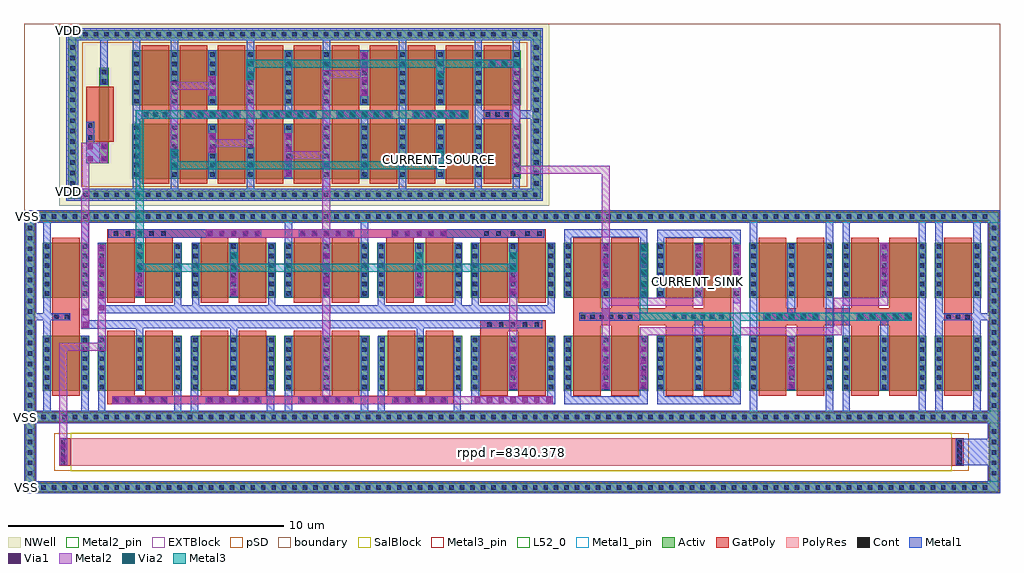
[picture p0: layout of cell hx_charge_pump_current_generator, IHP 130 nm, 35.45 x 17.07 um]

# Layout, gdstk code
import gdstk
lib = gdstk.Library(unit=1e-6, precision=1e-09)
def R(c, l, rs):  # rectangles x0, y0, x1, y1
    for r in rs: c.add(gdstk.rectangle(r[:2], r[2:], *l))
def A(c, l, x, y, w, h, nx, ny, dx, dy):  # array of equal rectangles
    R(c, l, [(x+i*dx, y+j*dy, x+i*dx+w, y+j*dy+h) for i in range(nx) for j in range(ny)])
def P(c, l, *ps):  # polygons
    for p in ps: c.add(gdstk.Polygon(p, *l))
Activ = (1, 0)
GatPoly = (5, 0)
Cont = (6, 0)
Metal1 = (8, 0)
Metal1_pin = (8, 2)
Metal2 = (10, 0)
Metal2_pin = (10, 2)
pSD = (14, 0)
Via1 = (19, 0)
SalBlock = (28, 0)
Via2 = (29, 0)
Metal3 = (30, 0)
Metal3_pin = (30, 2)
NWell = (31, 0)
L52_0 = (52, 0)
EXTBlock = (111, 0)
PolyRes = (128, 0)
boundary = (189, 4)

hx_charge_pump_current_g = lib.new_cell('hx_charge_pump_current_generator')
A(hx_charge_pump_current_g, Activ, 12.865, 3.725, 3.06, 2, 6, 1, 3.37, 0)
A(hx_charge_pump_current_g, Activ, 16.235, 7.115, 3.06, 2, 5, 1, 3.37, 0)
R(hx_charge_pump_current_g, Activ, [(0.685,3.725,2.365,5.725), (2.675,3.725,5.735,5.725), (6.085,3.725,9.145,5.725), (9.455,3.725,12.555,5.725), (33.085,3.725,34.765,5.725), (0.685,7.115,2.365,9.115), (2.675,7.115,5.735,9.115), (6.085,7.115,9.145,9.115), (9.455,7.115,12.515,9.115), (12.825,7.115,15.925,9.115), (33.085,7.115,34.765,9.115), (3.935,11.435,18.035,13.435), (2.725,11.995,3.085,15.46), (3.935,14.095,18.035,16.095)])
P(hx_charge_pump_current_g, Activ, [(1.605,10.7),(1.605,16.53),(1.905,16.53),(1.905,11),(18.47,11),(18.47,16.53),(1.605,16.53),(1.605,16.83),(18.77,16.83),(18.77,10.7)],
  [(0.065,0.07),(0.065,2.63),(0.365,2.63),(0.365,0.37),(35.08,0.37),(35.08,2.63),(0.07,2.63),(0.07,9.91),(0.37,9.91),(0.37,2.93),(35.08,2.93),(35.08,9.91),(0.07,9.91),(0.07,10.21),(35.38,10.21),(35.38,0.07)])
A(hx_charge_pump_current_g, GatPoly, 5.655, 11.255, 1, 2.36, 4, 1, 1.38, 0)
A(hx_charge_pump_current_g, GatPoly, 9.795, 11.255, 1, 2.36, 5, 1, 1.38, 0)
A(hx_charge_pump_current_g, GatPoly, 5.655, 13.915, 1, 2.36, 8, 1, 1.38, 0)
R(hx_charge_pump_current_g, GatPoly, [(1.275,1,1.505,2), (1.505,1,1.705,2), (33.705,1,33.905,2), (33.905,1,34.135,2), (1.025,3.545,2.025,9.295), (33.425,3.545,34.425,9.295), (4.275,11.255,5.275,16.275), (16.695,11.255,17.695,16.275), (2.255,12.78,3.265,14.78), (5.655,13.615,16.315,13.915)])
P(hx_charge_pump_current_g, GatPoly, [(19.945,3.545),(19.945,5.905),(19.95,5.905),(19.95,6.935),(19.945,6.935),(19.945,9.295),(20.945,9.295),(20.945,6.735),(21.325,6.735),(21.325,9.295),(22.325,9.295),(22.325,6.735),(23.315,6.735),(23.315,9.295),(24.315,9.295),(24.315,6.735),(24.695,6.735),(24.695,9.295),(25.695,9.295),(25.695,3.545),(24.695,3.545),(24.695,6.105),(24.315,6.105),(24.315,3.545),(23.315,3.545),(23.315,6.105),(22.325,6.105),(22.325,3.545),(21.325,3.545),(21.325,6.105),(20.945,6.105),(20.945,3.545)],
  [(26.685,3.545),(26.685,5.905),(26.69,5.905),(26.69,6.935),(26.685,6.935),(26.685,9.295),(27.685,9.295),(27.685,6.735),(28.065,6.735),(28.065,9.295),(29.065,9.295),(29.065,6.735),(30.055,6.735),(30.055,9.295),(31.055,9.295),(31.055,6.735),(31.435,6.735),(31.435,9.295),(32.435,9.295),(32.435,3.545),(31.435,3.545),(31.435,6.105),(31.055,6.105),(31.055,3.545),(30.055,3.545),(30.055,6.105),(29.065,6.105),(29.065,3.545),(28.065,3.545),(28.065,6.105),(27.685,6.105),(27.685,3.545)],
  [(3.015,6.935),(3.015,9.595),(18.955,9.595),(18.955,6.935),(17.955,6.935),(17.955,9.295),(17.575,9.295),(17.575,6.935),(16.575,6.935),(16.575,9.295),(15.585,9.295),(15.585,6.935),(14.585,6.935),(14.585,9.295),(14.165,9.295),(14.165,6.935),(13.165,6.935),(13.165,9.295),(12.175,9.295),(12.175,6.935),(11.175,6.935),(11.175,9.295),(10.795,9.295),(10.795,6.935),(9.795,6.935),(9.795,9.295),(8.805,9.295),(8.805,6.935),(7.805,6.935),(7.805,9.295),(7.425,9.295),(7.425,6.935),(6.425,6.935),(6.425,9.295),(5.395,9.295),(5.395,6.935),(4.395,6.935),(4.395,9.295),(4.015,9.295),(4.015,6.935)],
  [(3.015,3.245),(3.015,5.905),(4.015,5.905),(4.015,3.545),(4.395,3.545),(4.395,5.905),(5.395,5.905),(5.395,3.545),(6.425,3.545),(6.425,5.905),(7.425,5.905),(7.425,3.545),(7.805,3.545),(7.805,5.905),(8.805,5.905),(8.805,3.545),(9.795,3.545),(9.795,5.905),(10.795,5.905),(10.795,3.545),(11.175,3.545),(11.175,5.905),(12.175,5.905),(12.175,3.545),(13.205,3.545),(13.205,5.905),(14.205,5.905),(14.205,3.545),(14.585,3.545),(14.585,5.905),(15.585,5.905),(15.585,3.245)],
  [(16.575,3.545),(16.575,6.295),(18.955,6.295),(18.955,3.545),(17.955,3.545),(17.955,5.9),(17.575,5.9),(17.575,3.545)])
A(hx_charge_pump_current_g, Cont, 0.25, 0.14, 0.16, 0.16, 92, 2, 0.38, 2.56)
A(hx_charge_pump_current_g, Cont, 0.135, 0.655, 0.16, 0.16, 1, 5, 0, 0.38)
A(hx_charge_pump_current_g, Cont, 35.15, 0.655, 0.16, 0.16, 1, 5, 0, 0.38)
A(hx_charge_pump_current_g, Cont, 0.14, 3.11, 0.16, 0.16, 1, 18, 0, 0.38)
A(hx_charge_pump_current_g, Cont, 35.15, 3.11, 0.16, 0.16, 1, 18, 0, 0.38)
A(hx_charge_pump_current_g, Cont, 3.265, 3.315, 0.16, 0.16, 5, 2, 0.43, 6.05)
A(hx_charge_pump_current_g, Cont, 6.675, 3.315, 0.16, 0.16, 5, 2, 0.43, 6.05)
A(hx_charge_pump_current_g, Cont, 10.03, 3.315, 0.16, 0.16, 5, 1, 0.43, 0)
A(hx_charge_pump_current_g, Cont, 13.44, 3.315, 0.16, 0.16, 5, 1, 0.43, 0)
A(hx_charge_pump_current_g, Cont, 0.755, 3.795, 0.16, 0.16, 1, 6, 0, 0.34)
A(hx_charge_pump_current_g, Cont, 2.745, 3.795, 0.16, 0.16, 3, 6, 1.38, 0.34)
A(hx_charge_pump_current_g, Cont, 6.155, 3.795, 0.16, 0.16, 3, 6, 1.38, 0.34)
A(hx_charge_pump_current_g, Cont, 9.525, 3.795, 0.16, 0.16, 3, 6, 1.38, 0.34)
A(hx_charge_pump_current_g, Cont, 12.935, 3.795, 0.16, 0.16, 3, 6, 1.38, 0.34)
A(hx_charge_pump_current_g, Cont, 16.305, 3.795, 0.16, 0.16, 3, 6, 1.38, 0.34)
A(hx_charge_pump_current_g, Cont, 19.675, 3.795, 0.16, 0.16, 3, 6, 1.38, 0.34)
A(hx_charge_pump_current_g, Cont, 23.045, 3.795, 0.16, 0.16, 3, 6, 1.38, 0.34)
A(hx_charge_pump_current_g, Cont, 26.415, 3.795, 0.16, 0.16, 3, 6, 1.38, 0.34)
A(hx_charge_pump_current_g, Cont, 29.785, 3.795, 0.16, 0.16, 3, 6, 1.38, 0.34)
A(hx_charge_pump_current_g, Cont, 33.155, 3.795, 0.16, 0.16, 1, 6, 0, 0.34)
A(hx_charge_pump_current_g, Cont, 16.825, 6.065, 0.16, 0.16, 5, 1, 0.43, 0)
A(hx_charge_pump_current_g, Cont, 20.225, 6.34, 0.16, 0.16, 6, 1, 0.34, 0)
A(hx_charge_pump_current_g, Cont, 24.235, 6.34, 0.16, 0.16, 3, 1, 0.34, 0)
A(hx_charge_pump_current_g, Cont, 26.935, 6.34, 0.16, 0.16, 5, 1, 0.43, 0)
A(hx_charge_pump_current_g, Cont, 30.305, 6.34, 0.16, 0.16, 5, 1, 0.43, 0)
A(hx_charge_pump_current_g, Cont, 0.755, 7.185, 0.16, 0.16, 1, 6, 0, 0.34)
A(hx_charge_pump_current_g, Cont, 2.745, 7.185, 0.16, 0.16, 1, 6, 0, 0.34)
A(hx_charge_pump_current_g, Cont, 2.745, 7.185, 0.16, 0.16, 3, 6, 1.38, 0.34)
A(hx_charge_pump_current_g, Cont, 6.155, 7.185, 0.16, 0.16, 3, 6, 1.38, 0.34)
A(hx_charge_pump_current_g, Cont, 9.525, 7.185, 0.16, 0.16, 3, 6, 1.38, 0.34)
A(hx_charge_pump_current_g, Cont, 12.895, 7.185, 0.16, 0.16, 1, 6, 0, 0.34)
A(hx_charge_pump_current_g, Cont, 14.275, 7.185, 0.16, 0.16, 1, 6, 0, 0.34)
A(hx_charge_pump_current_g, Cont, 15.695, 7.185, 0.16, 0.16, 1, 6, 0, 0.34)
A(hx_charge_pump_current_g, Cont, 16.305, 7.185, 0.16, 0.16, 3, 6, 1.38, 0.34)
A(hx_charge_pump_current_g, Cont, 19.675, 7.185, 0.16, 0.16, 1, 6, 0, 0.34)
A(hx_charge_pump_current_g, Cont, 19.675, 7.185, 0.16, 0.16, 3, 6, 1.38, 0.34)
A(hx_charge_pump_current_g, Cont, 23.045, 7.185, 0.16, 0.16, 3, 6, 1.38, 0.34)
A(hx_charge_pump_current_g, Cont, 25.805, 7.185, 0.16, 0.16, 1, 6, 0, 0.34)
A(hx_charge_pump_current_g, Cont, 26.415, 7.185, 0.16, 0.16, 1, 6, 0, 0.34)
A(hx_charge_pump_current_g, Cont, 26.415, 7.185, 0.16, 0.16, 3, 6, 1.38, 0.34)
A(hx_charge_pump_current_g, Cont, 29.785, 7.185, 0.16, 0.16, 3, 6, 1.38, 0.34)
A(hx_charge_pump_current_g, Cont, 32.545, 7.185, 0.16, 0.16, 1, 6, 0, 0.34)
A(hx_charge_pump_current_g, Cont, 33.155, 7.185, 0.16, 0.16, 1, 6, 0, 0.34)
A(hx_charge_pump_current_g, Cont, 10.045, 9.365, 0.16, 0.16, 5, 1, 0.43, 0)
A(hx_charge_pump_current_g, Cont, 13.415, 9.365, 0.16, 0.16, 5, 1, 0.43, 0)
A(hx_charge_pump_current_g, Cont, 0.25, 9.98, 0.16, 0.16, 92, 1, 0.38, 0)
A(hx_charge_pump_current_g, Cont, 1.77, 10.77, 0.16, 0.16, 45, 2, 0.38, 5.83)
A(hx_charge_pump_current_g, Cont, 1.675, 11.18, 0.16, 0.16, 1, 14, 0, 0.38)
A(hx_charge_pump_current_g, Cont, 18.54, 11.18, 0.16, 0.16, 1, 14, 0, 0.38)
A(hx_charge_pump_current_g, Cont, 4.005, 11.505, 0.16, 0.16, 11, 6, 1.38, 0.34)
A(hx_charge_pump_current_g, Cont, 4.355, 13.685, 0.16, 0.16, 3, 1, 0.34, 0)
A(hx_charge_pump_current_g, Cont, 5.905, 13.685, 0.16, 0.16, 5, 1, 0.43, 0)
A(hx_charge_pump_current_g, Cont, 8.665, 13.685, 0.16, 0.16, 5, 1, 0.43, 0)
A(hx_charge_pump_current_g, Cont, 11.425, 13.685, 0.16, 0.16, 5, 1, 0.43, 0)
A(hx_charge_pump_current_g, Cont, 14.185, 13.685, 0.16, 0.16, 5, 1, 0.43, 0)
A(hx_charge_pump_current_g, Cont, 16.775, 13.685, 0.16, 0.16, 3, 1, 0.34, 0)
A(hx_charge_pump_current_g, Cont, 4.005, 14.165, 0.16, 0.16, 11, 6, 1.38, 0.34)
R(hx_charge_pump_current_g, Cont, [(0.135,0.655,0.295,0.815), (1.345,1.07,1.505,1.93), (33.905,1.07,34.065,1.93), (2.135,3.795,2.295,3.955), (2.135,3.795,2.295,3.955), (34.535,3.795,34.695,3.955), (34.535,3.795,34.695,3.955), (2.135,4.135,2.295,4.295), (2.135,4.135,2.295,4.295), (34.535,4.135,34.695,4.295), (34.535,4.135,34.695,4.295), (2.135,4.475,2.295,4.635), (2.135,4.475,2.295,4.635), (34.535,4.475,34.695,4.635), (34.535,4.475,34.695,4.635), (2.135,4.815,2.295,4.975), (2.135,4.815,2.295,4.975), (34.535,4.815,34.695,4.975), (34.535,4.815,34.695,4.975), (2.135,5.155,2.295,5.315), (2.135,5.155,2.295,5.315), (34.535,5.155,34.695,5.315), (34.535,5.155,34.695,5.315), (2.135,5.495,2.295,5.655), (2.135,5.495,2.295,5.655), (34.535,5.495,34.695,5.655), (34.535,5.495,34.695,5.655), (34.185,6.335,34.345,6.495), (1.095,6.34,1.255,6.5), (1.475,6.34,1.635,6.5), (23.555,6.34,23.715,6.5), (23.895,6.34,24.055,6.5), (23.895,6.34,24.055,6.5), (24.235,6.34,24.395,6.5), (24.915,6.34,25.075,6.5), (25.255,6.34,25.415,6.5), (33.505,6.34,33.665,6.5), (33.845,6.34,34.005,6.5), (2.135,7.185,2.295,7.345), (2.135,7.185,2.295,7.345), (34.535,7.185,34.695,7.345), (34.535,7.185,34.695,7.345), (2.135,7.525,2.295,7.685), (2.135,7.525,2.295,7.685), (34.535,7.525,34.695,7.685), (34.535,7.525,34.695,7.685), (2.135,7.865,2.295,8.025), (2.135,7.865,2.295,8.025), (34.535,7.865,34.695,8.025), (34.535,7.865,34.695,8.025), (2.135,8.205,2.295,8.365), (2.135,8.205,2.295,8.365), (34.535,8.205,34.695,8.365), (34.535,8.205,34.695,8.365), (2.135,8.545,2.295,8.705), (2.135,8.545,2.295,8.705), (34.535,8.545,34.695,8.705), (34.535,8.545,34.695,8.705), (2.135,8.885,2.295,9.045), (2.135,8.885,2.295,9.045), (34.535,8.885,34.695,9.045), (34.535,8.885,34.695,9.045), (18.215,9.36,18.375,9.52), (18.645,9.36,18.805,9.52), (16.725,9.365,16.885,9.525), (17.155,9.365,17.315,9.525), (17.685,9.365,17.845,9.525), (2.825,12.08,2.985,12.24), (2.825,12.51,2.985,12.67), (2.325,12.85,2.485,13.01), (2.325,13.28,2.485,13.44), (2.825,14.89,2.985,15.05), (2.825,15.23,2.985,15.39)])
R(hx_charge_pump_current_g, Metal1, [(1.275,1.02,1.575,1.98), (33.835,1.02,34.135,1.98), (3.2,3.25,5.21,3.54), (6.61,3.25,8.62,3.54), (9.965,3.25,11.975,3.54), (13.375,3.25,15.385,3.54), (17.62,3.745,17.91,5.705), (20.99,3.745,21.28,5.705), (27.73,3.745,28.02,5.705), (7.47,7.125,7.76,9.095), (4.06,7.135,4.35,9.105), (14.21,7.135,14.5,9.095), (17.62,7.135,17.91,9.095), (24.36,7.135,24.65,9.095), (31.1,7.135,31.39,9.11), (3.06,9.295,8.62,9.595), (13.35,9.295,18.89,9.595), (6.7,11.435,6.99,13.415), (9.46,11.435,9.75,13.415), (14.98,11.435,15.27,13.415), (5.84,13.615,7.85,13.915), (14.12,13.615,16.13,13.915), (6.7,14.115,6.99,16.095), (12.22,14.115,12.51,16.095), (14.98,14.115,15.27,16.095)])
P(hx_charge_pump_current_g, Metal1, [(22.995,3.25),(22.995,5.705),(23.255,5.705),(23.255,3.54),(25.74,3.54),(25.74,5.705),(26.03,5.705),(26.03,3.25)],
  [(19.625,3.25),(19.625,5.705),(19.885,5.705),(19.885,3.54),(22.37,3.54),(22.37,5.705),(22.66,5.705),(22.66,3.25)],
  [(25.74,6.905),(25.74,9.295),(23.255,9.295),(23.255,7.135),(22.995,7.135),(22.995,9.585),(26.03,9.585),(26.03,6.905)],
  [(0,0),(0,2.56),(0.44,2.56),(0.44,0.44),(35.01,0.44),(35.01,1.02),(33.835,1.02),(33.835,1.98),(35.01,1.98),(35.01,2.56),(0,2.56),(0,6.29),(0.44,6.29),(0.44,3),(0.705,3),(0.705,6.29),(0,6.29),(0,9.84),(0.44,9.84),(0.44,6.55),(0.705,6.55),(0.705,9.84),(12.495,9.84),(12.495,7.135),(12.235,7.135),(12.235,9.84),(9.735,9.84),(9.735,7.135),(9.475,7.135),(9.475,9.84),(2.345,9.84),(2.345,7.115),(2.085,7.115),(2.085,9.84),(0.965,9.84),(0.965,6.55),(1.685,6.55),(1.685,6.29),(0.965,6.29),(0.965,3),(2.085,3),(2.085,5.725),(2.345,5.725),(2.345,3),(2.695,3),(2.695,5.705),(2.955,5.705),(2.955,3),(5.455,3),(5.455,5.705),(5.715,5.705),(5.715,3),(6.065,3),(6.065,5.715),(6.325,5.715),(6.325,3),(8.825,3),(8.825,5.705),(9.085,5.705),(9.085,3),(9.475,3),(9.475,5.705),(9.735,5.705),(9.735,3),(12.235,3),(12.235,5.705),(12.495,5.705),(12.495,3),(12.845,3),(12.845,5.705),(13.105,5.705),(13.105,3),(15.605,3),(15.605,5.705),(15.865,5.705),(15.865,3),(26.365,3),(26.365,9.84),(26.625,9.84),(26.625,3),(29.125,3),(29.125,9.84),(29.385,9.84),(29.385,3),(29.735,3),(29.735,9.84),(29.995,9.84),(29.995,3),(32.495,3),(32.495,9.84),(32.755,9.84),(32.755,3),(33.105,3),(33.105,6.29),(33.365,6.29),(33.365,3),(34.485,3),(34.485,6.29),(34.745,6.29),(34.745,3),(35.01,3),(35.01,6.29),(33.105,6.29),(33.105,9.84),(33.365,9.84),(33.365,6.54),(34.485,6.54),(34.485,9.84),(34.745,9.84),(34.745,6.54),(35.01,6.54),(35.01,9.84),(0,9.84),(0,10.28),(35.45,10.28),(35.45,0)],
  [(4.075,3.735),(4.075,5.99),(2.085,5.99),(2.085,6.715),(2.375,6.715),(2.375,6.295),(18.82,6.295),(18.82,5.995),(14.525,5.995),(14.525,3.745),(14.265,3.745),(14.265,5.995),(11.115,5.995),(11.115,3.745),(10.855,3.745),(10.855,5.995),(7.745,5.995),(7.745,3.735),(7.485,3.735),(7.485,5.995),(4.335,5.995),(4.335,3.735)],
  [(1.535,10.63),(1.535,16.46),(3.035,16.46),(3.035,14.84),(2.775,14.84),(2.775,16.46),(1.975,16.46),(1.975,11.07),(3.955,11.07),(3.955,13.615),(4.215,13.615),(4.215,11.07),(5.335,11.07),(5.335,13.615),(3.955,13.615),(3.955,16.46),(4.215,16.46),(4.215,13.915),(5.335,13.915),(5.335,16.46),(5.595,16.46),(5.595,11.07),(8.095,11.07),(8.095,16.46),(8.355,16.46),(8.355,11.07),(10.855,11.07),(10.855,16.46),(11.115,16.46),(11.115,11.07),(13.615,11.07),(13.615,16.46),(13.875,16.46),(13.875,11.07),(16.375,11.07),(16.375,13.615),(16.635,13.615),(16.635,11.07),(17.755,11.07),(17.755,13.615),(18.015,13.615),(18.015,11.07),(18.4,11.07),(18.4,13.615),(16.375,13.615),(16.375,16.46),(16.635,16.46),(16.635,13.915),(17.755,13.915),(17.755,16.46),(18.015,16.46),(18.015,13.915),(18.4,13.915),(18.4,16.46),(1.535,16.46),(1.535,16.9),(18.84,16.9),(18.84,10.63)],
  [(24.36,3.745),(24.36,6.275),(20.16,6.275),(20.16,6.565),(20.99,6.565),(20.99,9.095),(21.28,9.095),(21.28,6.565),(25.655,6.565),(25.655,6.275),(24.65,6.275),(24.65,3.745)],
  [(19.625,7.135),(19.625,9.59),(22.645,9.59),(22.645,7.135),(22.385,7.135),(22.385,9.3),(19.885,9.3),(19.885,7.135)],
  [(31.1,3.745),(31.1,6.275),(30.24,6.275),(30.24,6.565),(32.25,6.565),(32.25,6.275),(31.39,6.275),(31.39,3.745)],
  [(26.85,6.275),(26.85,6.565),(27.73,6.565),(27.73,9.095),(28.02,9.095),(28.02,6.565),(28.88,6.565),(28.88,6.275)],
  [(10.855,7.135),(10.855,9.295),(9.98,9.295),(9.98,9.595),(11.99,9.595),(11.99,9.295),(11.115,9.295),(11.115,7.135)],
  [(12.235,11.455),(12.235,13.615),(11.36,13.615),(11.36,13.915),(13.37,13.915),(13.37,13.615),(12.495,13.615),(12.495,11.455)],
  [(8.6,13.615),(8.6,13.915),(9.475,13.915),(9.475,16.075),(9.735,16.075),(9.735,13.915),(10.61,13.915),(10.61,13.615)],
  [(16.24,3.25),(16.24,5.705),(16.53,5.705),(16.53,3.54),(19,3.54),(19,5.705),(19.29,5.705),(19.29,3.25)],
  [(2.26,11.995),(2.26,13.505),(2.55,13.505),(2.55,12.735),(3.05,12.735),(3.05,11.995)],
  [(2.68,6.545),(2.68,9.115),(2.97,9.115),(2.97,6.835),(5.455,6.835),(5.455,9.115),(5.715,9.115),(5.715,6.835),(6.105,6.835),(6.105,9.115),(6.365,9.115),(6.365,6.835),(8.865,6.835),(8.865,9.115),(9.125,9.115),(9.125,6.835),(12.845,6.835),(12.845,9.115),(13.105,9.115),(13.105,6.835),(15.645,6.835),(15.645,9.115),(15.905,9.115),(15.905,6.835),(16.255,6.835),(16.255,9.115),(16.515,9.115),(16.515,6.835),(19.015,6.835),(19.015,9.115),(19.275,9.115),(19.275,6.545)])
R(hx_charge_pump_current_g, Metal1_pin, [(0,0,35.45,0.44), (1.275,1.02,1.575,1.98), (33.835,1.02,34.135,1.98), (0,2.56,35.45,3), (0,9.84,35.45,10.28), (1.535,10.63,18.84,11.07), (1.535,16.46,18.84,16.9)])
A(hx_charge_pump_current_g, Metal2, 5.84, 13.615, 2.01, 0.3, 4, 1, 2.76, 0)
R(hx_charge_pump_current_g, Metal2, [(17.62,3.8,17.91,8.77), (25.74,3.8,26.03,5.38), (26.85,6.275,28.88,6.565), (30.24,6.275,32.25,6.565), (4.06,7.19,4.35,8.77), (7.47,7.19,7.76,8.77), (14.21,7.19,14.5,8.77), (22.37,7.46,22.66,9.04), (14.98,11.78,15.27,12.5), (14.98,15.03,15.27,15.75)])
P(hx_charge_pump_current_g, Metal2, [(20.99,7.46),(20.99,11.61),(17.74,11.61),(17.74,15.46),(16.88,15.46),(16.88,15.75),(18.03,15.75),(18.03,11.9),(21.28,11.9),(21.28,7.46)],
  [(20.99,3.8),(20.99,7.11),(24.36,7.11),(24.36,9.04),(24.65,9.04),(24.65,6.82),(21.28,6.82),(21.28,3.8)],
  [(22.37,3.8),(22.37,6.03),(25.74,6.03),(25.74,9.04),(26.03,9.04),(26.03,6.03),(29.415,6.03),(29.415,7.105),(31.1,7.105),(31.1,9.11),(31.39,9.11),(31.39,6.815),(29.705,6.815),(29.705,5.74),(28.02,5.74),(28.02,3.8),(27.73,3.8),(27.73,5.74),(22.66,5.74),(22.66,3.8)],
  [(1.28,1.02),(1.28,5.47),(2.68,5.47),(2.68,9.04),(2.97,9.04),(2.97,5.18),(1.57,5.18),(1.57,1.02)],
  [(3.2,3.25),(3.2,3.54),(10.84,3.54),(10.84,9.295),(6.61,9.295),(6.61,9.595),(10.84,9.595),(10.84,12.14),(9.75,12.14),(9.75,11.51),(9.46,11.51),(9.46,13.09),(9.75,13.09),(9.75,12.43),(10.84,12.43),(10.84,15.375),(12.22,15.375),(12.22,16.02),(12.51,16.02),(12.51,14.44),(12.22,14.44),(12.22,15.085),(11.13,15.085),(11.13,9.595),(15.36,9.595),(15.36,9.295),(11.13,9.295),(11.13,3.54),(19.2,3.54),(19.2,3.25)],
  [(6.7,12.37),(6.7,13.09),(6.99,13.09),(6.99,12.86),(8.08,12.86),(8.08,15.75),(8.37,15.75),(8.37,12.57),(6.99,12.57),(6.99,12.37)],
  [(5.32,11.78),(5.32,14.96),(6.7,14.96),(6.7,15.16),(6.99,15.16),(6.99,14.44),(6.7,14.44),(6.7,14.67),(5.61,14.67),(5.61,11.78)],
  [(2.085,5.995),(2.085,12.735),(3.05,12.735),(3.05,11.995),(2.375,11.995),(2.375,5.995)])
R(hx_charge_pump_current_g, Metal2_pin, [(24.36,7.345,24.65,9.04)])
R(hx_charge_pump_current_g, pSD, [(1.095,0.82,1.705,2.18), (1.705,0.82,33.705,2.18), (33.705,0.82,34.315,2.18), (2.115,11.135,18.27,16.395)])
P(hx_charge_pump_current_g, pSD, [(0.035,0.035),(0.035,2.595),(0.405,2.595),(0.405,0.405),(35.045,0.405),(35.045,2.595),(0.035,2.595),(0.035,9.875),(0.405,9.875),(0.405,2.965),(35.045,2.965),(35.045,9.875),(0.035,9.875),(0.035,10.245),(35.415,10.245),(35.415,0.035)])
A(hx_charge_pump_current_g, Via1, 3.25, 3.3, 0.19, 0.19, 5, 1, 0.43, 0)
A(hx_charge_pump_current_g, Via1, 6.66, 3.3, 0.19, 0.19, 5, 2, 0.43, 6.05)
A(hx_charge_pump_current_g, Via1, 10.015, 3.3, 0.19, 0.19, 5, 1, 0.43, 0)
A(hx_charge_pump_current_g, Via1, 13.425, 3.3, 0.19, 0.19, 5, 1, 0.43, 0)
A(hx_charge_pump_current_g, Via1, 16.38, 3.3, 0.19, 0.19, 6, 1, 0.43, 0)
A(hx_charge_pump_current_g, Via1, 17.67, 3.85, 0.19, 0.19, 1, 4, 0, 0.43)
A(hx_charge_pump_current_g, Via1, 21.04, 3.85, 0.19, 0.19, 1, 4, 0, 0.43)
A(hx_charge_pump_current_g, Via1, 22.42, 3.85, 0.19, 0.19, 1, 4, 0, 0.43)
A(hx_charge_pump_current_g, Via1, 25.79, 3.85, 0.19, 0.19, 1, 4, 0, 0.43)
A(hx_charge_pump_current_g, Via1, 27.78, 3.85, 0.19, 0.19, 1, 4, 0, 0.43)
A(hx_charge_pump_current_g, Via1, 26.92, 6.325, 0.19, 0.19, 5, 1, 0.43, 0)
A(hx_charge_pump_current_g, Via1, 30.29, 6.325, 0.19, 0.19, 5, 1, 0.43, 0)
A(hx_charge_pump_current_g, Via1, 2.73, 6.65, 0.19, 0.19, 1, 6, 0, 0.43)
A(hx_charge_pump_current_g, Via1, 4.11, 7.24, 0.19, 0.19, 1, 4, 0, 0.43)
A(hx_charge_pump_current_g, Via1, 7.52, 7.24, 0.19, 0.19, 3, 4, 3.37, 0.43)
A(hx_charge_pump_current_g, Via1, 17.67, 7.24, 0.19, 0.19, 1, 4, 0, 0.43)
A(hx_charge_pump_current_g, Via1, 21.04, 7.51, 0.19, 0.19, 1, 4, 0, 0.43)
A(hx_charge_pump_current_g, Via1, 22.42, 7.51, 0.19, 0.19, 1, 4, 0, 0.43)
A(hx_charge_pump_current_g, Via1, 24.41, 7.51, 0.19, 0.19, 1, 4, 0, 0.43)
A(hx_charge_pump_current_g, Via1, 25.79, 7.51, 0.19, 0.19, 1, 4, 0, 0.43)
A(hx_charge_pump_current_g, Via1, 31.15, 7.58, 0.19, 0.19, 1, 4, 0, 0.43)
A(hx_charge_pump_current_g, Via1, 10.03, 9.35, 0.19, 0.19, 5, 1, 0.43, 0)
A(hx_charge_pump_current_g, Via1, 13.4, 9.35, 0.19, 0.19, 5, 1, 0.43, 0)
A(hx_charge_pump_current_g, Via1, 9.51, 11.56, 0.19, 0.19, 1, 4, 0, 0.43)
A(hx_charge_pump_current_g, Via1, 5.89, 13.67, 0.19, 0.19, 5, 1, 0.43, 0)
A(hx_charge_pump_current_g, Via1, 8.65, 13.67, 0.19, 0.19, 5, 1, 0.43, 0)
A(hx_charge_pump_current_g, Via1, 11.41, 13.67, 0.19, 0.19, 5, 1, 0.43, 0)
A(hx_charge_pump_current_g, Via1, 14.17, 13.67, 0.19, 0.19, 5, 1, 0.43, 0)
A(hx_charge_pump_current_g, Via1, 12.27, 14.49, 0.19, 0.19, 1, 4, 0, 0.43)
R(hx_charge_pump_current_g, Via1, [(1.33,1.175,1.52,1.365), (1.33,1.605,1.52,1.795), (18.53,3.3,18.72,3.49), (18.96,3.3,19.15,3.49), (2.135,6.045,2.325,6.235), (2.135,6.475,2.325,6.665), (15.03,11.83,15.22,12.02), (2.31,12.065,2.5,12.255), (2.81,12.065,3,12.255), (15.03,12.26,15.22,12.45), (6.75,12.42,6.94,12.61), (2.31,12.495,2.5,12.685), (2.81,12.495,3,12.685), (6.75,12.85,6.94,13.04), (6.75,14.49,6.94,14.68), (6.75,14.92,6.94,15.11), (15.03,15.08,15.22,15.27), (15.03,15.51,15.22,15.7)])
R(hx_charge_pump_current_g, SalBlock, [(1.705,0.8,33.705,2.2)])
A(hx_charge_pump_current_g, Via2, 25.79, 3.85, 0.19, 0.19, 1, 4, 0, 0.43)
A(hx_charge_pump_current_g, Via2, 26.92, 6.325, 0.19, 0.19, 5, 1, 0.43, 0)
A(hx_charge_pump_current_g, Via2, 30.29, 6.325, 0.19, 0.19, 5, 1, 0.43, 0)
A(hx_charge_pump_current_g, Via2, 22.42, 7.51, 0.19, 0.19, 1, 4, 0, 0.43)
A(hx_charge_pump_current_g, Via2, 5.89, 13.67, 0.19, 0.19, 5, 1, 0.43, 0)
A(hx_charge_pump_current_g, Via2, 8.65, 13.67, 0.19, 0.19, 5, 1, 0.43, 0)
A(hx_charge_pump_current_g, Via2, 11.41, 13.67, 0.19, 0.19, 5, 1, 0.43, 0)
A(hx_charge_pump_current_g, Via2, 14.17, 13.67, 0.19, 0.19, 5, 1, 0.43, 0)
A(hx_charge_pump_current_g, Via2, 16.93, 15.51, 0.19, 0.19, 3, 1, 0.43, 0)
R(hx_charge_pump_current_g, Via2, [(4.11,8.1,4.3,8.29), (7.52,8.1,7.71,8.29), (14.26,8.1,14.45,8.29), (17.67,8.1,17.86,8.29), (4.11,8.53,4.3,8.72), (7.52,8.53,7.71,8.72), (14.26,8.53,14.45,8.72), (17.67,8.53,17.86,8.72), (5.37,11.83,5.56,12.02), (15.03,11.83,15.22,12.02), (5.37,12.26,5.56,12.45), (15.03,12.26,15.22,12.45), (8.13,15.08,8.32,15.27), (15.03,15.08,15.22,15.27), (8.13,15.51,8.32,15.7), (15.03,15.51,15.22,15.7)])
P(hx_charge_pump_current_g, Metal3, [(25.74,3.8),(25.74,6.275),(22.37,6.275),(22.37,9.04),(22.66,9.04),(22.66,6.565),(32.25,6.565),(32.25,6.275),(26.03,6.275),(26.03,3.8)],
  [(8.08,15.03),(8.08,15.75),(18.03,15.75),(18.03,15.46),(15.27,15.46),(15.27,15.03),(14.98,15.03),(14.98,15.46),(8.37,15.46),(8.37,15.03)],
  [(5.32,11.78),(5.32,12.5),(5.61,12.5),(5.61,12.07),(14.98,12.07),(14.98,12.5),(15.27,12.5),(15.27,11.78)],
  [(4.06,8.05),(4.06,13.915),(16.13,13.915),(16.13,13.615),(4.35,13.615),(4.35,8.34),(7.47,8.34),(7.47,8.77),(7.76,8.77),(7.76,8.34),(14.21,8.34),(14.21,8.77),(14.5,8.77),(14.5,8.34),(17.62,8.34),(17.62,8.77),(17.91,8.77),(17.91,8.05)])
R(hx_charge_pump_current_g, Metal3_pin, [(14.98,11.78,15.27,12.5)])
R(hx_charge_pump_current_g, NWell, [(1.285,10.46,19.085,17.07)])
R(hx_charge_pump_current_g, L52_0, [(1.705,1,33.705,2)])
R(hx_charge_pump_current_g, EXTBlock, [(1.705,0.8,33.705,2.2), (1.095,0.82,1.705,2.18), (33.705,0.82,34.315,2.18)])
R(hx_charge_pump_current_g, PolyRes, [(1.705,1,33.705,2)])
R(hx_charge_pump_current_g, boundary, [(0,0,35.45,17.07)])
hx_charge_pump_current_g.add(gdstk.Label('VDD', (1.6,16.82), layer=8, texttype=25))
hx_charge_pump_current_g.add(gdstk.Label('VSS', (0.085,0.215), layer=8, texttype=25))
hx_charge_pump_current_g.add(gdstk.Label('VDD', (1.63,10.98), layer=8, texttype=25))
hx_charge_pump_current_g.add(gdstk.Label('VSS', (0.06,2.76), layer=8, texttype=25))
hx_charge_pump_current_g.add(gdstk.Label('VSS', (0.14,10.05), layer=8, texttype=25))
hx_charge_pump_current_g.add(gdstk.Label('CURRENT_SINK', (24.46,7.69), layer=10, texttype=25))
hx_charge_pump_current_g.add(gdstk.Label('CURRENT_SOURCE', (15.105,12.125), layer=30, texttype=25))
hx_charge_pump_current_g.add(gdstk.Label('rppd r=8340.378', (17.705,1.5), layer=63, texttype=0))
hx_charge_pump_current_g.add(gdstk.Label('rppd', (17.705,1.5), layer=52, texttype=0))

lib.write_gds('hx_charge_pump_current_generator.gds')
